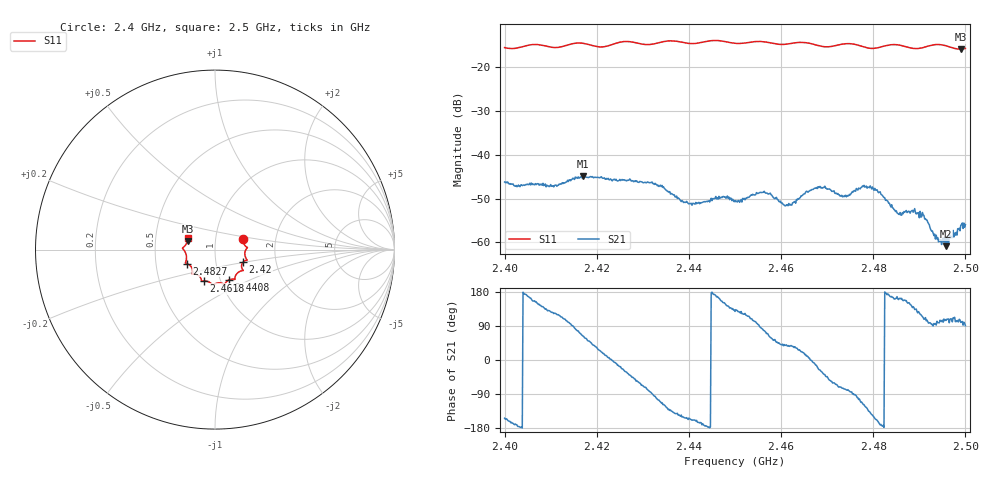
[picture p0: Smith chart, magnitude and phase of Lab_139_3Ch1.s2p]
# Hz S RI R 50
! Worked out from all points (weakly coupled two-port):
!   601 points, 2.4 GHz to 2.5 GHz, reference 50 ohm
!   highest |S21| = -44.93 dB at 2.417 GHz (marker M1); lowest = -60.9 dB at 2.4958 GHz (marker M2)
!   lowest |S11| = -15.9 dB at 2.499 GHz (marker M3), VSWR 1.38, Z = 36.6 + j3.59 ohm
!   |S11| at or under -10 dB: start of sweep to end of sweep
!   S12 and S22 are empty: the file has one direction only
!   S11 on the Smith chart (normalised r, x): 2.4 GHz: 1.36, +0.17; 2.42 GHz: 1.36, -0.19; 2.4408 GHz: 1.10, -0.38; 2.4618 GHz: 0.84, -0.30; 2.4827 GHz: 0.72, -0.12; 2.5 GHz: 0.73, +0.09
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2.4e9  0.1555 0.0616  -0.00438 -0.00217  0 0  0 0
2.410167e9  0.1686 -0.00807  -0.00255 0.00355  0 0  0 0
2.416667e9  0.1787 -0.059  0.00216 0.00506  0 0  0 0
2.417e9  0.1777 -0.0592  0.00256 0.00506  0 0  0 0
2.42e9  0.157 -0.0693  0.00463 0.00299  0 0  0 0
2.433333e9  0.1119 -0.1526  -0.00119 -0.00433  0 0  0 0
2.440833e9  0.0781 -0.1687  -0.00259 -0.00104  0 0  0 0
2.447333e9  0.048 -0.1921  -0.00294 0.00156  0 0  0 0
2.45e9  0.0272 -0.1852  -0.00186 0.00236  0 0  0 0
2.456e9  -0.0139 -0.1951  0.000555 0.00368  0 0  0 0
2.461833e9  -0.0609 -0.1752  0.00216 0.00157  0 0  0 0
2.466667e9  -0.0764 -0.1682  0.00401 -0.000138  0 0  0 0
2.473833e9  -0.1251 -0.1361  0.000794 -0.00332  0 0  0 0
2.478e9  -0.1253 -0.1146  -0.00209 -0.00396  0 0  0 0
2.482667e9  -0.1575 -0.0776  -0.00301 0.000144  0 0  0 0
2.483333e9  -0.1616 -0.0765  -0.00278 0.000367  0 0  0 0
2.485667e9  -0.1639 -0.0708  -0.00198 0.000635  0 0  0 0
2.490667e9  -0.1661 -0.0137  -0.000896 0.002  0 0  0 0
2.494e9  -0.1813 0.00779  -0.000168 0.00112  0 0  0 0
2.495833e9  -0.1746 0.0142  -0.000227 0.000876  0 0  0 0
2.499e9  -0.1532 0.0479  -0.000247 0.00155  0 0  0 0
2.5e9  -0.1511 0.0626  -1.79e-05 0.0016  0 0  0 0
